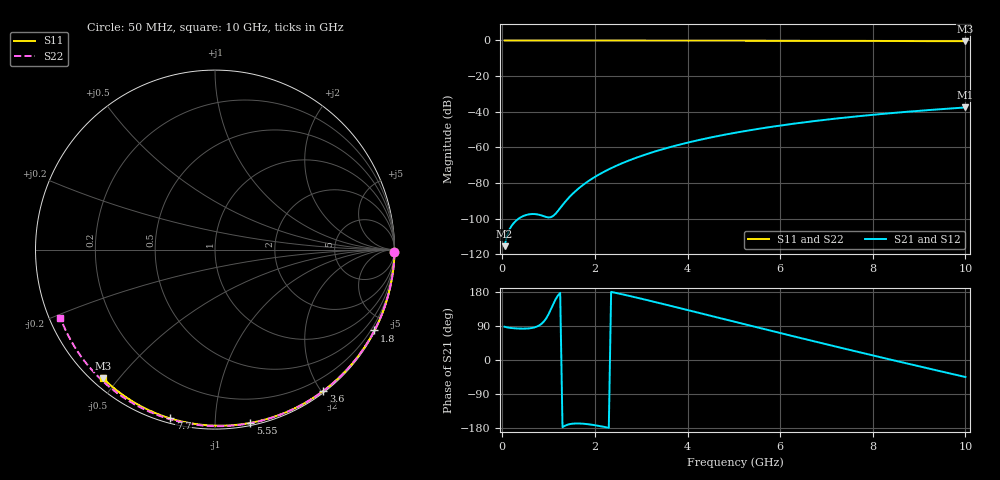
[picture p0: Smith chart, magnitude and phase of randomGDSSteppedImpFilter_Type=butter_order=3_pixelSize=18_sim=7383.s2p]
! freq	dB(S11)	phase(S11)	dB(S12)	phase(S12)
!  dB(S21)	phase(S21)	dB(S22)	phase(S22)
!S-par simulation data
#  GHz  S  DB  R 50
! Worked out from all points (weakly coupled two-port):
!   200 points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, 50 MHz to 10 GHz, reference 50 ohm
!   highest |S21| = -37.64 dB at 10 GHz (marker M1); lowest = -115.5 dB at 50 MHz (marker M2)
!   lowest |S11| = -0.4 dB at 10 GHz (marker M3), VSWR 39.14, Z = 1.54 - j22.7 ohm
!   |S11| at or under -10 dB: nowhere
!   |S22| runs from -0.5 to 0.0 dB; largest |S21 - S12| = 0
!   S11 on the Smith chart (normalised r, x): 50 MHz: open; 1.8 GHz: 0.04, -4.18; 3.6 GHz: 0.02, -2.02; 5.55 GHz: 0.02, -1.22; 7.7 GHz: 0.02, -0.77; 10 GHz: 0.03, -0.45
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0.05  -0.00 -0.8  -115.52 87.9  -115.52 87.9  -0.00 -0.9
0.45  -0.01 -6.8  -98.64 82.7  -98.64 82.7  -0.01 -8.1
0.9  -0.02 -13.6  -98.73 102.0  -98.73 102.0  -0.02 -16.2
1.3  -0.02 -19.5  -92.45 -177.4  -92.45 -177.4  -0.03 -23.3
1.75  -0.03 -26.1  -81.00 -168.2  -81.00 -168.2  -0.04 -31.1
1.8  -0.03 -26.9  -80.04 -168.8  -80.04 -168.8  -0.04 -32.0
2  -0.04 -29.8  -76.62 -172.1  -76.62 -172.1  -0.05 -35.5
2.15  -0.04 -32.0  -74.38 -175.4  -74.38 -175.4  -0.05 -38.1
2.5  -0.05 -37.0  -69.94 175.8  -69.94 175.8  -0.06 -44.0
2.9  -0.06 -42.8  -65.79 164.7  -65.79 164.7  -0.07 -50.8
3.4  -0.07 -49.8  -61.54 150.0  -61.54 150.0  -0.08 -59.1
3.6  -0.07 -52.6  -60.06 144.0  -60.06 144.0  -0.08 -62.3
4.3  -0.09 -62.1  -55.60 122.8  -55.60 122.8  -0.10 -73.5
5.05  -0.11 -72.1  -51.74 100.0  -51.74 100.0  -0.13 -85.2
5.55  -0.13 -78.5  -49.55 84.8  -49.55 84.8  -0.15 -92.7
6.1  -0.15 -85.5  -47.43 68.2  -47.43 68.2  -0.18 -100.9
6.7  -0.18 -92.9  -45.39 50.3  -45.39 50.3  -0.21 -109.6
7.2  -0.21 -98.9  -43.88 35.5  -43.88 35.5  -0.25 -116.7
7.7  -0.24 -104.9  -42.51 20.8  -42.51 20.8  -0.29 -123.8
8.35  -0.29 -112.4  -40.92 2.0  -40.92 2.0  -0.34 -132.9
9.2  -0.36 -122.2  -39.10 -22.3  -39.10 -22.3  -0.43 -144.8
10  -0.44 -131.2  -37.64 -44.9  -37.64 -44.9  -0.52 -156.1
